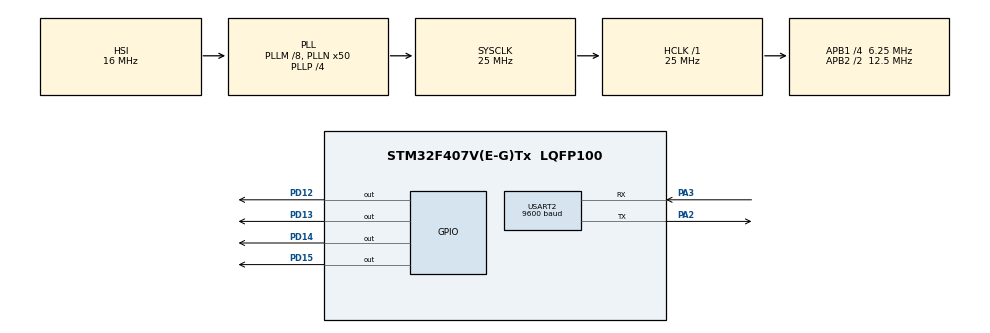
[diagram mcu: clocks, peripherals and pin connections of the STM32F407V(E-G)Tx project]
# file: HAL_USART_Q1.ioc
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Mcu.Family=STM32F4
Mcu.Name=STM32F407V(E-G)Tx
Mcu.Package=LQFP100
NVIC.PriorityGroup=NVIC_PRIORITYGROUP_0
PA2.Mode=Asynchronous
PA2.Signal=USART2_TX
PA3.Mode=Asynchronous
PA3.Signal=USART2_RX
PD12.Signal=GPIO_Output
PD13.Signal=GPIO_Output
PD14.Signal=GPIO_Output
PD15.Signal=GPIO_Output
ProjectManager.HeapSize=0x200
ProjectManager.StackSize=0x400
ProjectManager.TargetToolchain=STM32CubeIDE
RCC.48MHZClocksFreq_Value=14285714.285714285
RCC.AHBFreq_Value=25000000
RCC.APB1CLKDivider=RCC_HCLK_DIV4
RCC.APB1Freq_Value=6250000
RCC.APB1TimFreq_Value=12500000
RCC.APB2CLKDivider=RCC_HCLK_DIV2
RCC.APB2Freq_Value=12500000
RCC.APB2TimFreq_Value=25000000
RCC.CortexFreq_Value=25000000
RCC.HCLKFreq_Value=25000000
RCC.HSE_VALUE=8000000
RCC.HSI_VALUE=16000000
RCC.LSE_VALUE=32768
RCC.PLLM=8
RCC.PLLN=50
RCC.PLLP=RCC_PLLP_DIV4
RCC.PLLQ=7
RCC.SYSCLKFreq_VALUE=25000000
RCC.SYSCLKSource=RCC_SYSCLKSOURCE_PLLCLK
RCC.VCOOutputFreq_Value=100000000
USART2.BaudRate=9600
USART2.VirtualMode=VM_ASYNC
board=STM32F407G-DISC1

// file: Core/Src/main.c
/* USER CODE BEGIN Header */
/**
  ******************************************************************************
  * @file           : main.c
  * @brief          : Main program body
  ******************************************************************************
  * @attention
  *
  * Copyright (c) 2025 STMicroelectronics.
  * All rights reserved.
  *
  * This software is licensed under terms that can be found in the LICENSE file
  * in the root directory of this software component.
  * If no LICENSE file comes with this software, it is provided AS-IS.
  *
  ******************************************************************************
  */
/* USER CODE END Header */
#include "main.h"
#include<string.h>

/* USER CODE BEGIN Includes */
#define MAX_LEN 100
uint8_t rx_byte;             // single incoming byte
char rx_buffer[MAX_LEN];     // store full string
uint16_t rx_index = 0;       // current position

/* USER CODE END Includes */

UART_HandleTypeDef huart2;

void SystemClock_Config(void);
static void MX_GPIO_Init(void);
static void MX_USART2_UART_Init(void);

int main(void)
{

  /* MCU Configuration--------------------------------------------------------*/

  /* Reset of all peripherals, Initializes the Flash interface and the Systick. */
  HAL_Init();

  /* Configure the system clock */
  SystemClock_Config();

  /* Initialize all configured peripherals */
  MX_GPIO_Init();
  MX_USART2_UART_Init();
  /* USER CODE BEGIN 2 */
   char msg[50] = "Hello DKTE ...\r\n";
   HAL_UART_Transmit(&huart2, ( uint8_t *)msg,strlen(msg),HAL_MAX_DELAY);
  /* USER CODE END 2 */

  /* Infinite loop */
  while (1)
  {

    /* USER CODE BEGIN 3 */
	  /* Receive one byte (blocking polling) */
//	        HAL_UART_Receive(&huart2,(uint8_t*) &rx_byte, 1, HAL_MAX_DELAY);
//
//	        /* Echo received byte */
//	        HAL_UART_Transmit(&huart2,  ( uint8_t *)&rx_byte, 1, HAL_MAX_DELAY);

	        HAL_UART_Receive(&huart2, &rx_byte, 1, HAL_MAX_DELAY);

	           /* Echo received byte */
	           HAL_UART_Transmit(&huart2, &rx_byte, 1, HAL_MAX_DELAY);

	        /* ENTER key handling */
	        if (rx_byte == '\r')
	        {
	            rx_buffer[rx_index] = '\0';   // terminate string

	            char msg1[] = "\r\nYou sent: ";
	            HAL_UART_Transmit(&huart2, (uint8_t*)msg1, strlen(msg1), HAL_MAX_DELAY);
	            HAL_UART_Transmit(&huart2, (uint8_t*)rx_buffer, strlen(rx_buffer), HAL_MAX_DELAY);
	            char msg3[] = "\r\n";
	                      HAL_UART_Transmit(&huart2, (uint8_t*)msg3, strlen(msg3), HAL_MAX_DELAY);

	                      rx_index = 0;   // reset buffer
	             }
	                  else
	                  {
	                      /* Store character */
	                      if (rx_index < MAX_LEN - 1)
	                      {
	                          rx_buffer[rx_index++] = rx_byte;
	                      }
	                  }
  }
  /* USER CODE END 3 */
}

void SystemClock_Config(void)
{
  RCC_OscInitTypeDef RCC_OscInitStruct = {0};
  RCC_ClkInitTypeDef RCC_ClkInitStruct = {0};

  /** Configure the main internal regulator output voltage
  */
  __HAL_RCC_PWR_CLK_ENABLE();
  __HAL_PWR_VOLTAGESCALING_CONFIG(PWR_REGULATOR_VOLTAGE_SCALE1);

  /** Initializes the RCC Oscillators according to the specified parameters
  * in the RCC_OscInitTypeDef structure.
  */
  RCC_OscInitStruct.OscillatorType = RCC_OSCILLATORTYPE_HSI;
  RCC_OscInitStruct.HSIState = RCC_HSI_ON;
  RCC_OscInitStruct.HSICalibrationValue = RCC_HSICALIBRATION_DEFAULT;
  RCC_OscInitStruct.PLL.PLLState = RCC_PLL_ON;
  RCC_OscInitStruct.PLL.PLLSource = RCC_PLLSOURCE_HSI;
  RCC_OscInitStruct.PLL.PLLM = 8;
  RCC_OscInitStruct.PLL.PLLN = 50;
  RCC_OscInitStruct.PLL.PLLP = RCC_PLLP_DIV4;
  RCC_OscInitStruct.PLL.PLLQ = 7;
  if (HAL_RCC_OscConfig(&RCC_OscInitStruct) != HAL_OK)
  {
    Error_Handler();
  }

  /** Initializes the CPU, AHB and APB buses clocks
  */
  RCC_ClkInitStruct.ClockType = RCC_CLOCKTYPE_HCLK|RCC_CLOCKTYPE_SYSCLK
                              |RCC_CLOCKTYPE_PCLK1|RCC_CLOCKTYPE_PCLK2;
  RCC_ClkInitStruct.SYSCLKSource = RCC_SYSCLKSOURCE_PLLCLK;
  RCC_ClkInitStruct.AHBCLKDivider = RCC_SYSCLK_DIV1;
  RCC_ClkInitStruct.APB1CLKDivider = RCC_HCLK_DIV4;
  RCC_ClkInitStruct.APB2CLKDivider = RCC_HCLK_DIV2;

  if (HAL_RCC_ClockConfig(&RCC_ClkInitStruct, FLASH_LATENCY_0) != HAL_OK)
  {
    Error_Handler();
  }
}

static void MX_USART2_UART_Init(void)
{

  huart2.Instance = USART2;
  huart2.Init.BaudRate = 9600;
  huart2.Init.WordLength = UART_WORDLENGTH_8B;
  huart2.Init.StopBits = UART_STOPBITS_1;
  huart2.Init.Parity = UART_PARITY_NONE;
  huart2.Init.Mode = UART_MODE_TX_RX;
  huart2.Init.HwFlowCtl = UART_HWCONTROL_NONE;
  huart2.Init.OverSampling = UART_OVERSAMPLING_16;
  if (HAL_UART_Init(&huart2) != HAL_OK)
  {
    Error_Handler();
  }

}

static void MX_GPIO_Init(void)
{
  GPIO_InitTypeDef GPIO_InitStruct = {0};

  /* GPIO Ports Clock Enable */
  __HAL_RCC_GPIOA_CLK_ENABLE();
  __HAL_RCC_GPIOD_CLK_ENABLE();

  /*Configure GPIO pin Output Level */
  HAL_GPIO_WritePin(GPIOD, GPIO_PIN_12|GPIO_PIN_13|GPIO_PIN_14|GPIO_PIN_15, GPIO_PIN_RESET);

  /*Configure GPIO pins : PD12 PD13 PD14 PD15 */
  GPIO_InitStruct.Pin = GPIO_PIN_12|GPIO_PIN_13|GPIO_PIN_14|GPIO_PIN_15;
  GPIO_InitStruct.Mode = GPIO_MODE_OUTPUT_PP;
  GPIO_InitStruct.Pull = GPIO_NOPULL;
  GPIO_InitStruct.Speed = GPIO_SPEED_FREQ_LOW;
  HAL_GPIO_Init(GPIOD, &GPIO_InitStruct);

}

void Error_Handler(void)
{
  __disable_irq();
  while (1)
  {
  }
}
